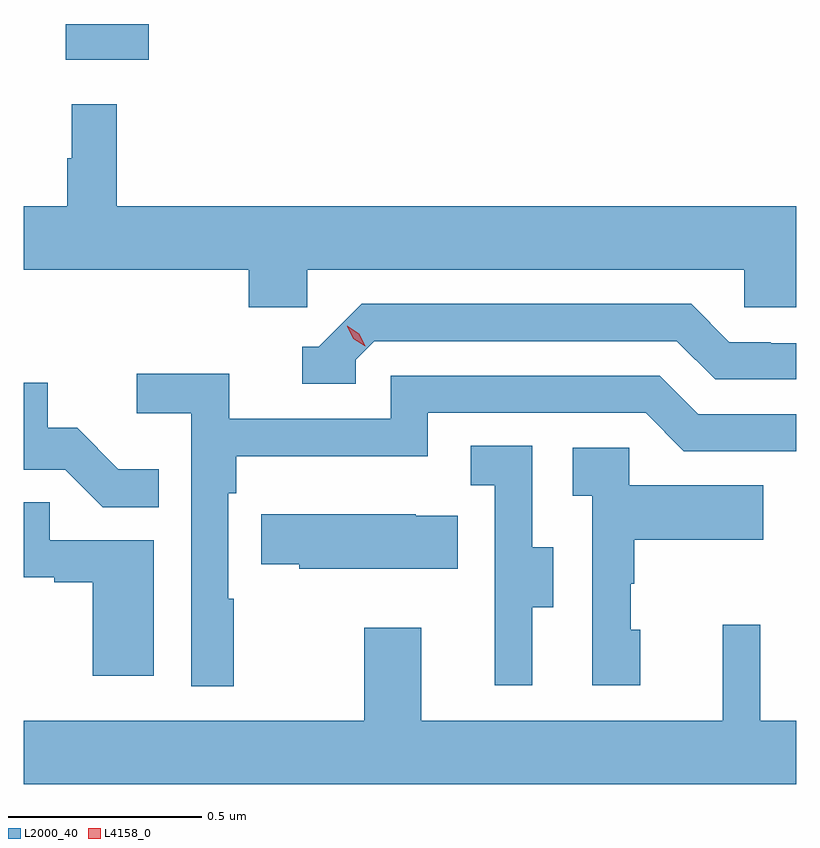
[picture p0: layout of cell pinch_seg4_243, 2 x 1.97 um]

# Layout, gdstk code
import gdstk
lib = gdstk.Library(unit=1e-6, precision=1e-09)
def R(c, l, rs):  # rectangles x0, y0, x1, y1
    for r in rs: c.add(gdstk.rectangle(r[:2], r[2:], *l))
def P(c, l, *ps):  # polygons
    for p in ps: c.add(gdstk.Polygon(p, *l))
L2000_40 = (2000, 40)
L4158_0 = (4158, 0)

pinch_seg4_243 = lib.new_cell('pinch_seg4_243')
R(pinch_seg4_243, L2000_40, [(901.871,821.339,902.086,821.432)])
P(pinch_seg4_243, L2000_40, [(902.496,820.796),(903.627,820.796),(903.627,820.698),(903.762,820.698),(903.762,820.96),(902.003,820.96),(902.003,821.224),(901.886,821.224),(901.886,821.084),(901.875,821.084),(901.875,820.96),(901.762,820.96),(901.762,820.796),(902.345,820.796),(902.345,820.698),(902.496,820.698)],
  [(902.622,820.563),(902.67,820.611),(903.453,820.611),(903.552,820.512),(903.762,820.512),(903.762,820.605),(903.696,820.605),(903.696,820.608),(903.589,820.608),(903.49,820.707),(902.637,820.707),(902.526,820.596),(902.483,820.596),(902.483,820.5),(902.622,820.5)],
  [(902.305,819.944),(902.292,819.944),(902.292,820.217),(902.312,820.217),(902.312,820.313),(902.808,820.313),(902.808,820.425),(903.372,820.425),(903.471,820.326),(903.762,820.326),(903.762,820.422),(903.508,820.422),(903.409,820.521),(902.712,820.521),(902.712,820.41),(902.294,820.41),(902.294,820.526),(902.055,820.526),(902.055,820.424),(902.196,820.424),(902.196,819.717),(902.305,819.717)],
  [(902.111,820.279),(902.007,820.279),(901.9,820.386),(901.824,820.386),(901.824,820.503),(901.762,820.503),(901.762,820.278),(901.869,820.278),(901.967,820.18),(902.111,820.18)],
  [(903.079,819.922),(903.133,819.922),(903.133,820.077),(903.078,820.077),(903.078,820.34),(902.919,820.34),(902.919,820.237),(902.982,820.237),(902.982,819.933),(902.981,819.933),(902.981,819.72),(903.079,819.72)],
  [(903.358,819.864),(903.333,819.864),(903.333,819.983),(903.343,819.983),(903.343,820.097),(903.677,820.097),(903.677,820.237),(903.33,820.237),(903.33,820.335),(903.183,820.335),(903.183,820.211),(903.234,820.211),(903.234,819.72),(903.358,819.72)],
  [(902.098,820.095),(901.829,820.095),(901.829,820.193),(901.762,820.193),(901.762,819.999),(901.841,819.999),(901.841,819.987),(901.94,819.987),(901.94,819.744),(902.098,819.744)],
  [(902.885,820.159),(902.777,820.159),(902.777,820.162),(902.377,820.162),(902.377,820.033),(902.475,820.033),(902.475,820.022),(902.885,820.022)],
  [(903.762,819.628),(903.669,819.628),(903.669,819.877),(903.572,819.877),(903.572,819.628),(902.791,819.628),(902.791,819.868),(902.644,819.868),(902.644,819.628),(901.762,819.628),(901.762,819.464),(903.762,819.464)])
P(pinch_seg4_243, L4158_0, [(902.646,820.597),(902.615,820.617),(902.599,820.649),(902.599,820.65),(902.6,820.65),(902.63,820.63),(902.646,820.597),(902.646,820.597)])

lib.write_gds('pinch_seg4_243.gds')
